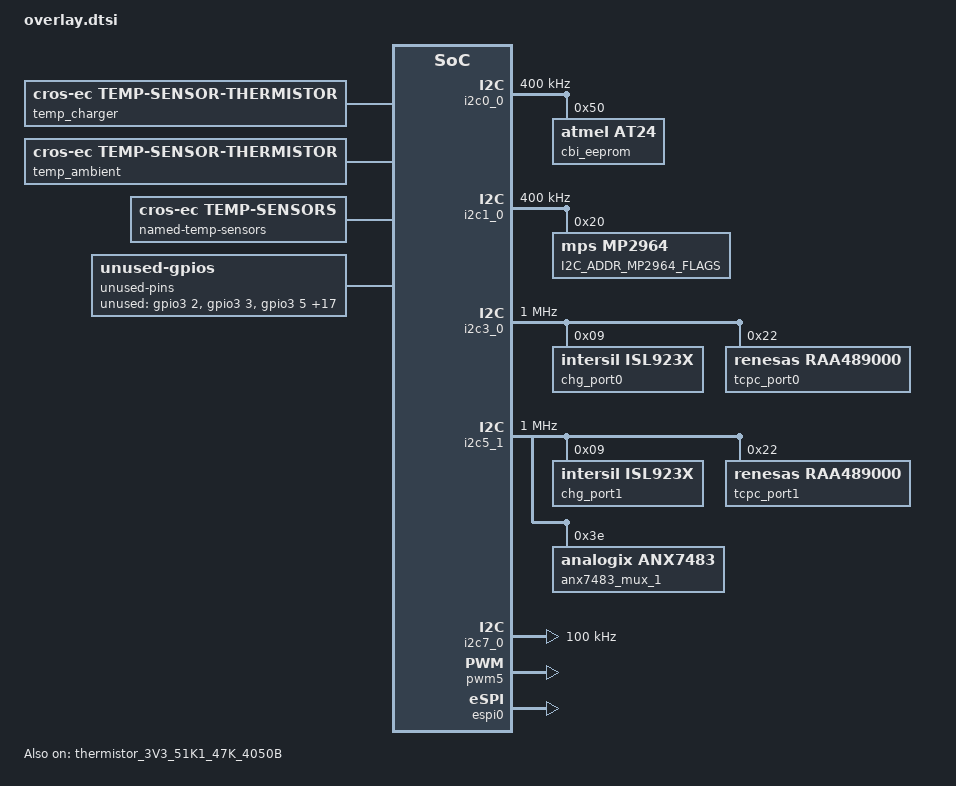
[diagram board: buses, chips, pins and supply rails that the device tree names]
/* Copyright 2023 The ChromiumOS Authors
 * Use of this source code is governed by a BSD-style license that can be
 * found in the LICENSE file.
 */

#include <cros/thermistor/thermistor.dtsi>
#include <dt-bindings/usbc_mux.h>
#include <dt-bindings/usb_pd_tcpm.h>

/ {
	aliases {
		gpio-cbi-wp = &gpio_ec_cbi_wp;
		gpio-wp = &gpio_ec_wp_odl;
		int-wp = &int_wp_l;
		gpio-kbd-kso2 = &gpio_ec_kso_02_inv;
	};

	ec-console {
		compatible = "ec-console";
		disabled = "events", "lpc", "hostcmd";
	};

	batteries {
		default_battery: byd_yt39x {
			compatible = "byd,yt39x", "battery-smart";
		};
		byd_x0y5m {
			compatible = "byd,x0y5m", "battery-smart";
		};
		lgc_8ghcx {
			compatible = "lgc,8ghcx", "battery-smart";
		};
		sunwoda_ctgkt {
			compatible = "sunwoda,ctgkt", "battery-smart";
		};
		sunwoda_cosctgkt {
			compatible = "sunwoda,cosctgkt", "battery-smart";
		};
		smp_atl26jgk {
			compatible = "smp,atl26jgk", "battery-smart";
		};
		smp_atlrf9h3 {
			compatible = "smp,atlrf9h3", "battery-smart";
		};
		smp_cos26jgk {
			compatible = "smp,cos26jgk", "battery-smart";
		};
		smp_cosrf9h3 {
			compatible = "smp,cosrf9h3", "battery-smart";
		};
		smp_hptrf9h3 {
			compatible = "smp,hptrf9h3", "battery-smart";
		};
	};

	hibernate-wake-pins {
		compatible = "cros-ec,hibernate-wake-pins";
		wakeup-irqs = <
			&int_power_button
			&int_lid_open
		>;
	};

	gpio-interrupts {
		compatible = "cros-ec,gpio-interrupts";

		int_power_button: power_button {
			irq-pin = <&gpio_gsc_ec_pwr_btn_odl>;
			flags = <GPIO_INT_EDGE_BOTH>;
			handler = "power_button_interrupt";
		};
		int_wp_l: wp_l {
			irq-pin = <&gpio_ec_wp_odl>;
			flags = <GPIO_INT_EDGE_BOTH>;
			handler = "switch_interrupt";
		};
		int_lid_open: lid_open {
			irq-pin = <&gpio_lid_open>;
			flags = <GPIO_INT_EDGE_BOTH>;
			handler = "lid_interrupt";
		};
		int_tablet_mode: tablet_mode {
			irq-pin = <&gpio_tablet_mode_l>;
			flags = <GPIO_INT_EDGE_BOTH>;
			handler = "gmr_tablet_switch_isr";
		};
		int_imu: ec_imu {
			irq-pin = <&gpio_imu_int_l>;
			flags = <GPIO_INT_EDGE_FALLING>;
			handler = "motion_interrupt";
		};
		int_lid_imu: lid_imu {
			irq-pin = <&gpio_acc_int_l>;
			flags = <GPIO_INT_EDGE_FALLING>;
			handler = "lid_accel_interrupt";
		};
		int_vol_down: vol_down {
			irq-pin = <&gpio_voldn_btn_odl>;
			flags = <GPIO_INT_EDGE_BOTH>;
			handler = "button_interrupt";
		};
		int_vol_up: vol_up {
			irq-pin = <&gpio_volup_btn_odl>;
			flags = <GPIO_INT_EDGE_BOTH>;
			handler = "button_interrupt";
		};
		int_usb_c0: usb_c0 {
			irq-pin = <&gpio_usb_c0_int_odl>;
			flags = <GPIO_INT_EDGE_FALLING>;
			handler = "usb_interrupt";
		};
		int_usb_c1: usb_c1 {
			irq-pin = <&gpio_sb_1>;
			flags = <GPIO_INT_EDGE_FALLING>;
			handler = "usb_interrupt";
		};
	};

	named-gpios {
		gpio_sb_1: sb-1 {
			gpios = <&gpio0 2 GPIO_PULL_UP>;
			no-auto-init;
		};

		gpio_sb_2: sb-2 {
			gpios = <&gpiod 4 GPIO_OUTPUT>;
			no-auto-init;
		};

		/*
		 * Set I2C pins for type C sub-board to be low voltage (I2C5_1).
		 * We do this for all boards, since the pins are 3.3V tolerant,
		 * and the only 2 types of sub-boards used on uldren both have
		 * type-C ports on them.
		 */
		gpio_sb_3: sb-3 {
			gpios = <&gpiof 4 (GPIO_OPEN_DRAIN | GPIO_VOLTAGE_1P8)>;
			no-auto-init;
		};
		gpio_sb_4: sb-4 {
			gpios = <&gpiof 5 (GPIO_INPUT | GPIO_VOLTAGE_1P8)>;
			no-auto-init;
		};
		ec-i2c-sensor-scl {
			gpios = <&gpio9 0 (GPIO_INPUT | GPIO_VOLTAGE_1P8)>;
		};
		ec-i2c-sensor-sda {
			gpios = <&gpio8 7 (GPIO_INPUT | GPIO_VOLTAGE_1P8)>;
		};
	};

	/*
	 * Aliases used for sub-board GPIOs.
	 */
	aliases {
		/*
		 * Input GPIO when used with type-C port 1
		 */
		gpio-usb-c1-int-odl = &gpio_sb_1;
		gpio-en-rails-odl = &gpio_sb_1;
		/*
		 * Enable S5 rails for LTE sub-board
		 */
		gpio-en-sub-s5-rails = &gpio_sb_2;
	};

	temp_memory: memory {
		compatible = "cros-ec,temp-sensor-thermistor";
		thermistor = <&thermistor_3V3_51K1_47K_4050B>;
		adc = <&adc_temp_sensor_1>;
	};
	temp_charger: charger {
		compatible = "cros-ec,temp-sensor-thermistor";
		thermistor = <&thermistor_3V3_51K1_47K_4050B>;
		adc = <&adc_temp_sensor_2>;
	};
	temp_ambient: ambient {
		compatible = "cros-ec,temp-sensor-thermistor";
		thermistor = <&thermistor_3V3_51K1_47K_4050B>;
		adc = <&adc_temp_sensor_3>;
	};

	named-temp-sensors {
		compatible = "cros-ec,temp-sensors";
		memory {
			temp_host_high = <85>;
			temp_host_halt = <99>;
			temp_host_release_high = <80>;
			temp_host_release_halt = <98>;
			power-good-pin = <&gpio_ec_soc_dsw_pwrok>;
			sensor = <&temp_memory>;
		};
		charger {
			temp_host_high = <85>;
			temp_host_halt = <99>;
			temp_host_release_high = <80>;
			temp_host_release_halt = <98>;
			power-good-pin = <&gpio_ec_soc_dsw_pwrok>;
			sensor = <&temp_charger>;
		};
		ambient {
			temp_host_high = <85>;
			temp_host_halt = <99>;
			temp_host_release_high = <80>;
			temp_host_release_halt = <98>;
			power-good-pin = <&gpio_ec_soc_dsw_pwrok>;
			sensor = <&temp_ambient>;
		};
	};

	usba {
		compatible = "cros-ec,usba-port-enable-pins";

		enable-pins = <&gpio_en_usb_a0_vbus>;
		status = "okay";
	};

	usbc {
		#address-cells = <1>;
		#size-cells = <0>;

		port0@0 {
			compatible = "named-usbc-port";
			reg = <0>;
			chg = <&chg_port0>;
			tcpc = <&tcpc_port0>;
			usb-mux-chain-0 {
				compatible = "cros-ec,usb-mux-chain";
				usb-muxes = <&virtual_mux_0>;
			};
		};
		port0-muxes {
			virtual_mux_0: virtual-mux-0 {
				compatible = "cros-ec,usbc-mux-virtual";
			};
		};
		/*
		 * TODO(b:211693800): port1 may not be present on some
		 * sub-boards.
		 */
		port1@1 {
			compatible = "named-usbc-port";
			reg = <1>;
			chg = <&chg_port1>;
			tcpc = <&tcpc_port1>;
			usb-mux-chain-1 {
				compatible = "cros-ec,usb-mux-chain";
				usb-muxes = <&virtual_mux_1 &anx7483_mux_1>;
			};
			usb_mux_chain_1_no_mux: usb-mux-chain-1-no-mux {
				compatible = "cros-ec,usb-mux-chain";
				alternative-chain;
				usb-muxes = <&virtual_mux_1>;
			};
		};
		port1-muxes {
			virtual_mux_1: virtual-mux-1 {
				compatible = "cros-ec,usbc-mux-virtual";
			};
		};
	};

	 /*
	  * Declare unused GPIOs so that they are shut down
	  * and use minimal power
	  */
	  unused-pins {
		compatible = "unused-gpios";
		unused-gpios =
			<&gpio3 2 0>,
			<&gpio3 3 0>,
			<&gpio3 5 0>,
			<&gpio3 6 0>,
			<&gpio5 7 0>,
			<&gpio6 0 0>,
			<&gpio6 6 0>,
			<&gpio7 3 0>,
			<&gpio8 1 0>,
			<&gpio8 3 0>,
			<&gpio8 5 0>,
			<&gpio8 6 0>,
			<&gpiob 1 0>,
			<&gpiob 7 0>,
			<&gpioc 0 0>,
			<&gpioc 7 0>,
			<&gpiod 5 0>,
			<&gpioe 4 0>,
			<&gpiof 2 0>,
			<&gpiof 3 0>;
	 };
};

&thermistor_3V3_51K1_47K_4050B {
	status = "okay";
};

&adc_ec_vsense_pp3300_s5 {
	/*
	 * Voltage divider on input has 47k upper and 220k lower legs with
	 * 2714 mV full-scale reading on the ADC. Apply the largest possible
	 * multiplier (without overflowing int32) to get the best possible
	 * approximation of the actual ratio, but derate by a factor of two to
	 * ensure unexpectedly high values won't overflow.
	 */
	mul = <(791261 / 2)>;
	div = <(651975 / 2)>;
};

/* Set bus speeds for I2C */
&i2c0_0 {
	label = "I2C_EEPROM";
	clock-frequency = <I2C_BITRATE_FAST>;

	cbi_eeprom: eeprom@50 {
		compatible = "atmel,at24";
		reg = <0x50>;
		size = <2048>;
		pagesize = <16>;
		address-width = <8>;
		timeout = <5>;
	};
};

&i2c1_0 {
	label = "I2C_SENSOR";
	clock-frequency = <I2C_BITRATE_FAST>;

	pmic_mp2964: pmic_mp2964@20 {
			compatible = "mps,mp2964";
			reg = <0x20>;
			label = "I2C_ADDR_MP2964_FLAGS";
	};
};

&i2c3_0 {
	label = "I2C_USB_C0_TCPC";
	clock-frequency = <I2C_BITRATE_FAST_PLUS>;

	chg_port0: isl923x@9 {
		compatible = "intersil,isl923x";
		status = "okay";
		reg = <0x9>;
	};

	tcpc_port0: raa489000@22 {
		compatible = "renesas,raa489000";
		reg = <0x22>;
		tcpc-flags = <(
			TCPC_FLAGS_TCPCI_REV2_0 |
			TCPC_FLAGS_VBUS_MONITOR)>;
	};
};

&i2c5_1 {
	label = "I2C_SUB_C1_TCPC";
	clock-frequency = <I2C_BITRATE_FAST_PLUS>;

	chg_port1: isl923x@9 {
		compatible = "intersil,isl923x";
		status = "okay";
		reg = <0x9>;
	};

	tcpc_port1: raa489000@22 {
		compatible = "renesas,raa489000";
		reg = <0x22>;
		tcpc-flags = <(
			TCPC_FLAGS_TCPCI_REV2_0 |
			TCPC_FLAGS_VBUS_MONITOR)>;
	};

	anx7483_mux_1: anx7483-mux-1@3e {
		compatible = "analogix,anx7483";
		reg = <0x3e>;
		board-set = "board_anx7483_c1_mux_set";
		flags = <USB_MUX_FLAG_RESETS_IN_G3>;
	};
};

&i2c7_0 {
	label = "I2C_BATTERY";
	clock-frequency = <I2C_BITRATE_STANDARD>;
};

&pwm5_gpb7 {
	drive-open-drain;
};

&pwm5 {
	status = "okay";
	clock-bus = "NPCX_CLOCK_BUS_LFCLK";
	pinctrl-0 = <&pwm5_gpb7>;
	pinctrl-names = "default";
};

/* host interface */
&espi0 {
	status = "okay";
	pinctrl-0 = <&espi_lpc_gp46_47_51_52_53_54_55_57>;
	pinctrl-names = "default";
};

/*
 * Declare GPIOs that have leakage current caused by board issues here. NPCX ec
 * will disable their input buffers before entering deep sleep and restore them
 * after waking up automatically for better power consumption.
 */
&power_leakage_io {
	leak-gpios = <&gpioa 4 GPIO_OPEN_DRAIN
		      &gpiof 1 GPIO_OPEN_DRAIN>;
};
